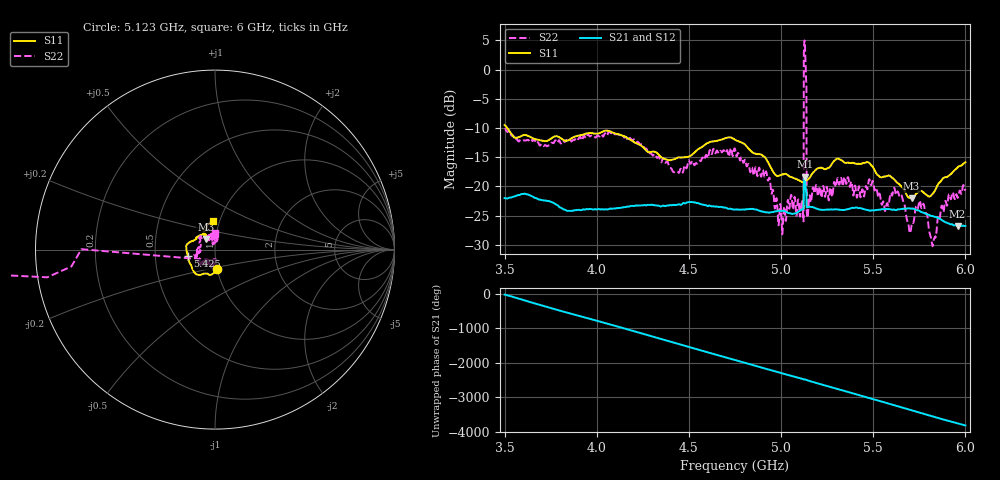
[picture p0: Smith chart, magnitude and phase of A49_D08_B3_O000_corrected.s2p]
! Created with skrf 1.9.0 (http://scikit-rf.org).
# Hz S RI R 50.0
!freq ReS11 ImS11 ReS21 ImS21 ReS12 ImS12 ReS22 ImS22
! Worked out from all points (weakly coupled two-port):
!   1601 points, 3.5 GHz to 6 GHz, reference 50 ohm
!   highest |S21| = -18.32 dB at 5.128 GHz (marker M1); lowest = -26.8 dB at 5.958 GHz (marker M2)
!   lowest |S11| = -22.0 dB at 5.708 GHz (marker M3), VSWR 1.17, Z = 44.8 + j5.4 ohm
!   |S11| at or under -10 dB: 3.514 GHz to end of sweep
!   |S22| runs from -30.2 to 5.0 dB; largest |S21 - S12| = 0.0011
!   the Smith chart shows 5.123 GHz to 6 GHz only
!   S11 on the Smith chart (normalised r, x): 5.123 GHz: 0.99, -0.22; 5.425 GHz: 0.73, -0.05; 6 GHz: 0.93, +0.31
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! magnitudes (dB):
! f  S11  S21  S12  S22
! 3.5 GHz  -9.5  -22.0  -22.0  -10.2
! 3.917 GHz  -11.2  -24.1  -24.0  -12.0
! 4.334 GHz  -14.5  -23.3  -23.2  -14.9
! 4.434 GHz  -15.1  -23.1  -23.2  -17.4
! 4.75 GHz  -12.0  -24.0  -23.9  -13.6
! 4.927 GHz  -15.7  -24.4  -24.4  -18.7
! 5.016 GHz  -17.9  -24.2  -24.2  -23.7
! 5.109 GHz  -19.1  -24.0  -24.0  -22.9
! 5.123 GHz  -19.3  -19.8  -19.7  2.8
! 5.128 GHz  -19.2  -18.3  -18.3  5.0
! 5.136 GHz  -19.0  -20.9  -20.9  -1.9
! 5.152 GHz  -18.6  -23.5  -23.5  -22.0
! 5.167 GHz  -17.9  -23.5  -23.5  -21.5
! 5.425 GHz  -16.1  -23.7  -23.7  -20.4
! 5.584 GHz  -18.1  -23.9  -23.8  -23.1
! 5.644 GHz  -19.7  -23.9  -23.9  -21.8
! 5.708 GHz  -22.0  -23.8  -23.7  -26.7
! 5.763 GHz  -20.8  -24.4  -24.4  -23.7
! 5.828 GHz  -21.1  -25.2  -25.1  -29.2
! 5.88 GHz  -18.6  -25.9  -25.9  -24.3
! 5.958 GHz  -16.7  -26.8  -26.7  -22.0
! 6 GHz  -15.9  -26.8  -26.7  -20.5
